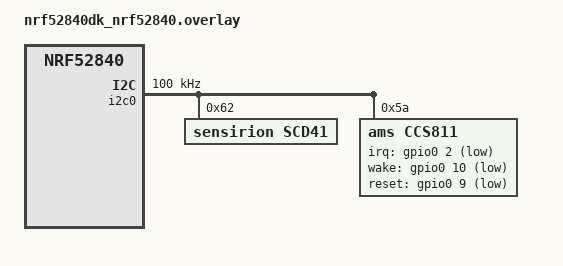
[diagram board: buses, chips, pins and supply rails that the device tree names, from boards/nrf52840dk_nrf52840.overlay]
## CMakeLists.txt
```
#
# Copyright (c) 2018 Linaro Ltd.
#
# SPDX-License-Identifier: Apache-2.0
#

cmake_minimum_required(VERSION 3.20.0)
list(APPEND ZEPHYR_EXTRA_MODULES
  ${CMAKE_CURRENT_SOURCE_DIR}/drivers
)
find_package(Zephyr REQUIRED HINTS $ENV{ZEPHYR_BASE})
project(client_node1)

FILE(GLOB app_sources src/*.c)
target_sources(app PRIVATE ${app_sources})
zephyr_include_directories(drivers)
```

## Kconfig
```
#
# Copyright (c) 2018 Peter Bigot Consulting, LLC
#
# SPDX-License-Identifier: Apache-2.0
#
mainmenu "CCS811 sample application"

choice
	prompt "CCS811 Trigger On"
	default APP_TRIGGER_ON_DATAREADY
	depends on CCS811_TRIGGER
	help
	  Select the type of trigger to use

config APP_TRIGGER_ON_DATAREADY
	bool "Trigger on data ready"

config APP_TRIGGER_ON_THRESHOLD
	bool "Trigger on eCO2 threshold crossing"

endchoice

config APP_CO2_MEDIUM_PPM
	int "Threshold of eCO2 between low and medium"
	default 1500
	depends on APP_TRIGGER_ON_THRESHOLD

config APP_CO2_HIGH_PPM
	int "Threshold of eCO2 between medium and high"
	default 2500
	depends on APP_TRIGGER_ON_THRESHOLD

config APP_MONITOR_BASELINE
	bool "Display BASELINE register value for each sample"
	default y

config APP_USE_ENVDATA
	bool "Program CCS811 with fixed environmental parameters"
	default n

config APP_ENV_TEMPERATURE
	int "Environment temperature for CCS811, Cel"
	default 25
	depends on APP_USE_ENVDATA

config APP_ENV_HUMIDITY
	int "Environment humidity for CCS811, %RH"
	default 50
	depends on APP_USE_ENVDATA

source "Kconfig.zephyr"
rsource "drivers/Kconfig"
```

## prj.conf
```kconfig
#
# Copyright (c) 2018 Linaro Ltd.
#
# SPDX-License-Identifier: Apache-2.0
#

CONFIG_STDOUT_CONSOLE=y
CONFIG_I2C=y
CONFIG_SENSOR=y
CONFIG_PWM=y
CONFIG_LOG=y
CONFIG_SCD4X=y
CONFIG_CRC=y


# OPEN THREAD NETWORK CONFIGURATION #

# Enable OpenThread FTD features set
CONFIG_OPENTHREAD_NORDIC_LIBRARY_FTD=y
# L2 OpenThread enabling
CONFIG_NET_L2_OPENTHREAD=y
# Generic networking options
CONFIG_NETWORKING=y

# Network parameter (For Network Identity and Security)
CONFIG_OPENTHREAD_MANUAL_START=n
CONFIG_OPENTHREAD_NETWORK_NAME="WSN18"
CONFIG_OPENTHREAD_PANID=10018
CONFIG_OPENTHREAD_XPANID="fb:02:00:00:ab:cd:00:18"
CONFIG_OPENTHREAD_NETWORKKEY="00:11:22:33:44:55:66:77:88:99:aa:bb:cc:dd:ee:ff"

# Network shell (Shell Interface for debugging and managing Thread Network)
CONFIG_SHELL=y
CONFIG_OPENTHREAD_SHELL=y
CONFIG_SHELL_ARGC_MAX=26
CONFIG_SHELL_CMD_BUFF_SIZE=416
```

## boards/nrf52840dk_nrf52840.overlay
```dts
&i2c0 {
    status = "okay";
	clock-frequency = <I2C_BITRATE_STANDARD>;

    scd41@62 {
        compatible = "sensirion,scd41";
        reg = <0x62>;
        label = "SCD41";
        mode =<0>; // or "low_power", "single_shot"
    };

    ccs811: ccs811@5a {
        compatible = "ams,ccs811";
        reg = <0x5a>;
        label = "CCS811";
        irq-gpios = <&gpio0 2 GPIO_ACTIVE_LOW>;
        wake-gpios = <&gpio0 10 GPIO_ACTIVE_LOW>;
        reset-gpios = <&gpio0 9 GPIO_ACTIVE_LOW>;
        };
};
```

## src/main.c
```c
#include <zephyr/kernel.h>
#include <zephyr/device.h>
#include <zephyr/drivers/sensor.h>
#include <zephyr/sys/printk.h>
#include <zephyr/drivers/sensor/ccs811.h>
#include <stdio.h>
#include <zephyr/logging/log.h>
#include "sensor/scd4x/scd4x.h"
#include <openthread/coap.h>
#include <openthread/thread.h>
#include <zephyr/net/openthread.h> 

// THREAD NETWORK CONFIGURATION //
void coap_init(void)
{
	otInstance *p_instance = openthread_get_default_instance();
	otError error = otCoapStart(p_instance, OT_DEFAULT_COAP_PORT);
	if (error != OT_ERROR_NONE)
		printk("Failed to start Coap: %d\n", error);
	else
	{
		printk("Coap started successfully.\n");
	}
}
static void coap_send_data_response_cb(void *p_context, otMessage *p_message,
									   const otMessageInfo *p_message_info, otError result)
{
	if (result == OT_ERROR_NONE)
	{
		printk("Delivery confirmed.\n");
	}
	else
	{
		printk("Delivery not confirmed: %d\n", result);
	}
}
static void send_coap_message(const char *uri_path, const char *payload)
{
	otError error = OT_ERROR_NONE;
	otMessage *message;
	otMessageInfo message_info;
	otInstance *instance = openthread_get_default_instance();
	const otMeshLocalPrefix *mesh_prefix = otThreadGetMeshLocalPrefix(instance);
	uint8_t server_interface_id[8] = {0x00, 0x00, 0x00, 0x00, 0x00, 0x00, 0x00, 0x01};

	do
	{
		// Allocate a new CoAP message
		message = otCoapNewMessage(instance, NULL);
		if (message == NULL)
		{
			printk("Failed to allocate CoAP message\n");
			return;
		}

		// Initialize the CoAP message
		otCoapMessageInit(message, OT_COAP_TYPE_CONFIRMABLE, OT_COAP_CODE_PUT);

		// Append URI path
		error = otCoapMessageAppendUriPathOptions(message, uri_path);
		if (error != OT_ERROR_NONE)
		{
			printk("Failed to append URI path: %d\n", error);
			otMessageFree(message);
			return;
		}

		// Append content format option (JSON)
		error = otCoapMessageAppendContentFormatOption(message, OT_COAP_OPTION_CONTENT_FORMAT_JSON);
		if (error != OT_ERROR_NONE)
		{
			printk("Failed to append content format option: %d\n", error);
			otMessageFree(message);
			return;
		}

		// Set payload marker
		error = otCoapMessageSetPayloadMarker(message);
		if (error != OT_ERROR_NONE)
		{
			printk("Failed to set payload marker: %d\n", error);
			otMessageFree(message);
			return;
		}

		// Append payload
		error = otMessageAppend(message, payload, strlen(payload));
		if (error != OT_ERROR_NONE)
		{
			printk("Failed to append payload: %d\n", error);
			otMessageFree(message);
			return;
		}

		// Set up message info
		memset(&message_info, 0, sizeof(message_info));
		memcpy(&message_info.mPeerAddr.mFields.m8[0], mesh_prefix, 8);
		memcpy(&message_info.mPeerAddr.mFields.m8[8], server_interface_id, 8);
		message_info.mPeerPort = OT_DEFAULT_COAP_PORT;

		// Send the CoAP request
		error = otCoapSendRequest(instance, message, &message_info, coap_send_data_response_cb, NULL);
	} while (false);

	if (error != OT_ERROR_NONE)
	{
		printk("Failed to send CoAP request: %d\n", error);
		otMessageFree(message);
	}
	else
	{
		printk("CoAP message sent successfully.\n");
	}
}

// THREAD NETWORK CONFIGURATION ENDS //
#if !DT_HAS_COMPAT_STATUS_OKAY(sensirion_scd41)
#error "No sensirion,scd4x compatible node found in the device tree"
#endif

#if !DT_HAS_COMPAT_STATUS_OKAY(ams_ccs811)
#error "No sensirion,ccs811 compatible node found in the device tree"
#endif

const struct device *scd41 = DEVICE_DT_GET_ANY(sensirion_scd41);
const struct device *ccs811 = DEVICE_DT_GET_ANY(ams_ccs811);

// Function to send data in JSON format to CoAP Server
void send_error_message(const char *message, bool *scd41_ok, bool *ccs811_ok)
{
	char payload[256]; // Buffer to hold the JSON payload

	// Construct the JSON payload
	snprintf(payload, sizeof(payload), "{\"error\":\"%s\",\"SCD41_OK\":%s,\"CCS811_OK\":%s}\n", message, (*scd41_ok) ? "true" : "false", (*ccs811_ok) ? "true" : "false");

	// Send the CoAP message
	send_coap_message("sensor_data", payload);
}

void send_scd41_data(struct sensor_value co2_41, struct sensor_value temo, struct sensor_value humi, bool *scd41_ok)
{
	char payload[256]; // Buffer to hold the JSON payload

	// Construct the JSON payload
	snprintf(payload, sizeof(payload),
			 "{\"sensor\":\"scd41\",\"data\":{\"CO2\":%d.%02d,\"Temperature\":%d.%02d,\"Humidity\":%d.%02d, \"SCD41_OK\":%s}}\n",
			 co2_41.val1, co2_41.val2, temo.val1, temo.val2, humi.val1, humi.val2,
			 (*scd41_ok) ? "true" : "false");

	// Send the CoAP message
	send_coap_message("sensor_data", payload);
}

void send_ccs811_data(struct sensor_value co2_881, struct sensor_value tvoc, bool *ccs881_ok)
{
	char payload[256]; // Buffer to hold the JSON payload

	// Construct the JSON payload
	snprintf(payload, sizeof(payload),
			 "{\"sensor\":\"ccs811\",\"data\":{\"eCO2\":%d.%02d,\"TVOC\":%d.%02d, \"CCS811_OK\":%s}}\n",
			 co2_881.val1, co2_881.val2, tvoc.val1, tvoc.val2, (*ccs881_ok) ? "true" : "false");

	// Send the CoAP message
	send_coap_message("sensor_data", payload);
}

bool is_scd41_data_valid(struct sensor_value co2, struct sensor_value temp, struct sensor_value hum) {
	return (co2.val1 > 0 && co2.val1 < 5000) &&
           (temp.val1 > -40 && temp.val1 < 85) &&
           (hum.val1 >= 0 && hum.val1 <= 100);
}

bool is_ccs811_data_valid(struct sensor_value co2, struct sensor_value voc) {
    return (co2.val1 > 400 && co2.val1 < 8192) &&
           (voc.val1 >= 0 && voc.val1 < 1187); 
}

int main(void)
{
    bool SCD41_OK = false;
    bool CCS811_OK = false;
    coap_init();

    if (!device_is_ready(scd41) && !device_is_ready(ccs811)) {
        printk("SCD41 and CCS811 device is not ready\n");
        send_error_message("SCD41 and CCS811 not ready - Sensors not connected or Sensor's PINs mis-configured.", &SCD41_OK, &CCS811_OK);
        return -1;
    }

    if (!device_is_ready(scd41) && device_is_ready(ccs811)) {
        CCS811_OK = true;
        printk("SCD41 device is not ready\n");
        send_error_message("SCD41 not ready - Sensor not connected or Sensor's PINs mis-configured.", &SCD41_OK, &CCS811_OK);
        return -1;
    }

    if (!device_is_ready(ccs811) && device_is_ready(scd41)) {
        SCD41_OK = true;
        printk("CCS811 device is not ready\n");
        send_error_message("CCS811 not ready - Sensor not connected or Sensor's PINs mis-configured.", &SCD41_OK, &CCS811_OK);
        return -1;
    }

    SCD41_OK = true;
    CCS811_OK = true;
    printk("SCD41 and CCS811 devices are ready\n");

    struct sensor_value co2_41, temp, humi, co2_811, tvoc;
    struct sensor_value co2_41_sum = {0}, temp_sum = {0}, humi_sum = {0};
    struct sensor_value co2_811_sum = {0}, tvoc_sum = {0};

    int valid_scd41_readings = 0;
    int valid_ccs811_readings = 0;

    while (true) {
        // Reset sums and counters for averaging
        co2_41_sum = (struct sensor_value){0};
        temp_sum = (struct sensor_value){0};
        humi_sum = (struct sensor_value){0};
        co2_811_sum = (struct sensor_value){0};
        tvoc_sum = (struct sensor_value){0};
        valid_scd41_readings = 0;
        valid_ccs811_readings = 0;

        // Collect 3 readings over 15 seconds
        for (int i = 0; i < 3; i++) {
            // Fetch data from SCD41
            if (sensor_sample_fetch(scd41) == 0) {
                sensor_channel_get(scd41, SENSOR_CHAN_CO2, &co2_41);
                sensor_channel_get(scd41, SENSOR_CHAN_AMBIENT_TEMP, &temp);
                sensor_channel_get(scd41, SENSOR_CHAN_HUMIDITY, &humi);

                if (is_scd41_data_valid(co2_41, temp, humi)) {
                    co2_41_sum.val1 += co2_41.val1;
                    co2_41_sum.val2 += co2_41.val2;
                    temp_sum.val1 += temp.val1;
                    temp_sum.val2 += temp.val2;
                    humi_sum.val1 += humi.val1;
                    humi_sum.val2 += humi.val2;
                    valid_scd41_readings++;
                }
            } else {
                printk("Failed to fetch sample from SCD41\n");
            }

            // Fetch data from CCS811
            if (sensor_sample_fetch(ccs811) == 0) {
                sensor_channel_get(ccs811, SENSOR_CHAN_CO2, &co2_811);
                sensor_channel_get(ccs811, SENSOR_CHAN_VOC, &tvoc);

                if (is_ccs811_data_valid(co2_811, tvoc)) {
                    co2_811_sum.val1 += co2_811.val1;
                    co2_811_sum.val2 += co2_811.val2;
                    tvoc_sum.val1 += tvoc.val1;
                    tvoc_sum.val2 += tvoc.val2;
                    valid_ccs811_readings++;
                }
            } else {
                printk("Failed to fetch sample from CCS811\n");
            }

            k_sleep(K_SECONDS(15)); // Wait 5 seconds before the next reading
        }

        // Calculate averages
        if (valid_scd41_readings > 0) {
            co2_41_sum.val1 /= valid_scd41_readings;
            co2_41_sum.val2 /= valid_scd41_readings;
            temp_sum.val1 /= valid_scd41_readings;
            temp_sum.val2 /= valid_scd41_readings;
            humi_sum.val1 /= valid_scd41_readings;
            humi_sum.val2 /= valid_scd41_readings;
        }

        if (valid_ccs811_readings > 0) {
            co2_811_sum.val1 /= valid_ccs811_readings;
            co2_811_sum.val2 /= valid_ccs811_readings;
            tvoc_sum.val1 /= valid_ccs811_readings;
            tvoc_sum.val2 /= valid_ccs811_readings;
        }

        // Send averaged data conditionally
        if (valid_scd41_readings > 0 && valid_ccs811_readings > 0) {
            printk("Sending averaged data from both sensors...\n");
            send_scd41_data(co2_41_sum, temp_sum, humi_sum, &SCD41_OK);
            send_ccs811_data(co2_811_sum, tvoc_sum, &CCS811_OK);
        } else if (valid_scd41_readings > 0) {
            printk("Sending averaged data from SCD41 only...\n");
            send_scd41_data(co2_41_sum, temp_sum, humi_sum, &SCD41_OK);
            send_error_message("CCS811 data invalid, sending SCD41 data only.", &SCD41_OK, &CCS811_OK);
        } else if (valid_ccs811_readings > 0) {
            printk("Sending averaged data from CCS811 only...\n");
            send_ccs811_data(co2_811_sum, tvoc_sum, &CCS811_OK);
            send_error_message("SCD41 data invalid, sending CCS811 data only.", &SCD41_OK, &CCS811_OK);
        } else {
            printk("No valid data to send (Sensor Data out of bound).\n");
            send_error_message("INVALID DATA SENT FROM SCD41 and CCS811", &SCD41_OK, &CCS811_OK);
        }

        k_sleep(K_SECONDS(15)); // Sleep for the remaining time to complete 60 seconds
    }

    return 0;
}
```
